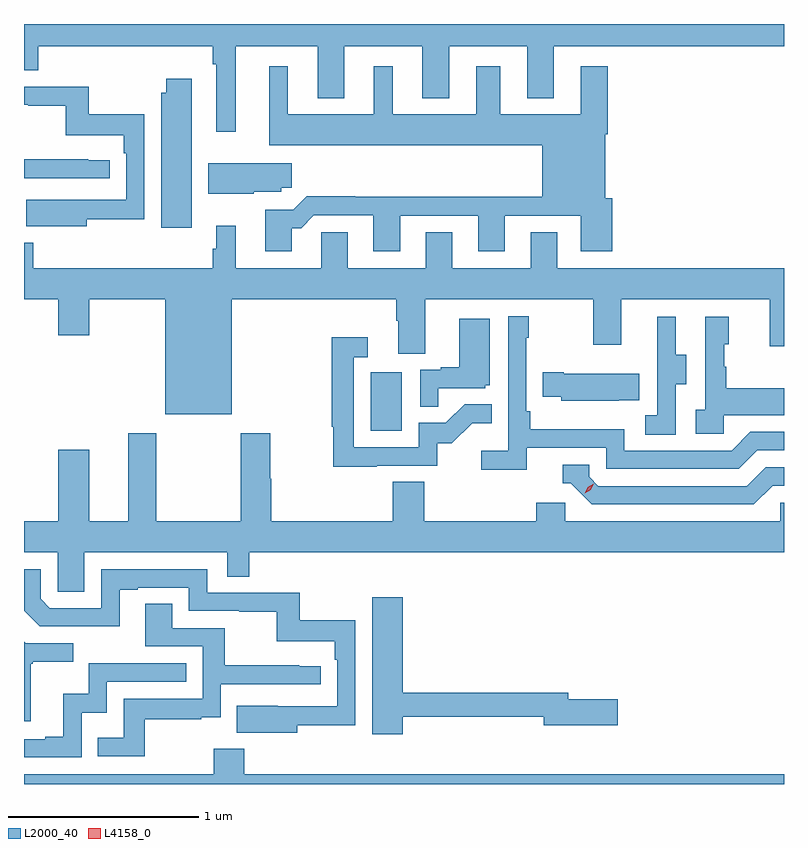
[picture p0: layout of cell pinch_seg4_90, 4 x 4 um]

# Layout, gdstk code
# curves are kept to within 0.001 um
import gdstk
lib = gdstk.Library(unit=1e-6, precision=1e-09)
def R(c, l, rs):  # rectangles x0, y0, x1, y1
    for r in rs: c.add(gdstk.rectangle(r[:2], r[2:], *l))
def P(c, l, *ps):  # polygons
    for p in ps: c.add(gdstk.Polygon(p, *l))
L2000_40 = (2000, 40)
L4158_0 = (4158, 0)

pinch_seg4_90 = lib.new_cell('pinch_seg4_90')
R(pinch_seg4_90, L2000_40, [(1077.74,818.772,1077.904,819.079)])
P(pinch_seg4_90, L2000_40, [(1075.916,820.669),(1075.991,820.669),(1075.991,820.796),(1076.91,820.796),(1076.91,820.7),(1076.927,820.7),(1076.927,820.347),(1077.031,820.347),(1077.031,820.796),(1077.461,820.796),(1077.461,820.523),(1077.601,820.523),(1077.601,820.796),(1078.013,820.796),(1078.013,820.523),(1078.153,820.523),(1078.153,820.796),(1078.565,820.796),(1078.565,820.523),(1078.705,820.523),(1078.705,820.796),(1079.916,820.796),(1079.916,820.913),(1075.916,820.913)],
  [(1077.325,819.839),(1077.374,819.839),(1077.441,819.906),(1077.755,819.906),(1077.755,819.717),(1077.895,819.717),(1077.895,819.903),(1078.307,819.903),(1078.307,819.717),(1078.447,819.717),(1078.447,819.903),(1078.847,819.903),(1078.847,819.717),(1079.012,819.717),(1079.012,819.996),(1078.975,819.996),(1078.975,820.334),(1078.988,820.334),(1078.988,820.69),(1078.847,820.69),(1078.847,820.438),(1078.423,820.438),(1078.423,820.69),(1078.295,820.69),(1078.295,820.438),(1077.856,820.438),(1077.856,820.69),(1077.758,820.69),(1077.758,820.438),(1077.304,820.438),(1077.304,820.69),(1077.206,820.69),(1077.206,820.274),(1078.643,820.274),(1078.643,820.004),(1077.659,820.004),(1077.659,820.007),(1077.404,820.007),(1077.333,819.936),(1077.185,819.936),(1077.185,819.717),(1077.325,819.717)],
  [(1076.8,820.624),(1076.665,820.624),(1076.665,820.552),(1076.639,820.552),(1076.639,819.84),(1076.8,819.84)],
  [(1076.245,819.886),(1076.55,819.886),(1076.55,820.438),(1076.257,820.438),(1076.257,820.584),(1075.916,820.584),(1075.916,820.488),(1075.939,820.488),(1075.939,820.483),(1076.136,820.483),(1076.136,820.328),(1076.441,820.328),(1076.441,820.232),(1076.454,820.232),(1076.454,819.987),(1076.141,819.987),(1076.141,819.988),(1075.927,819.988),(1075.927,819.848),(1076.245,819.848)],
  [(1076.368,820.197),(1076.255,820.197),(1076.255,820.202),(1075.916,820.202),(1075.916,820.101),(1076.368,820.101)],
  [(1077.126,820.031),(1077.27,820.031),(1077.27,820.051),(1077.325,820.051),(1077.325,820.18),(1076.886,820.18),(1076.886,820.019),(1077.126,820.019)],
  [(1077.01,819.464),(1077.875,819.464),(1077.875,819.352),(1077.887,819.352),(1077.887,819.178),(1078.027,819.178),(1078.027,819.464),(1078.912,819.464),(1078.912,819.225),(1079.059,819.225),(1079.059,819.464),(1079.84,819.464),(1079.84,819.216),(1079.916,819.216),(1079.916,819.628),(1078.723,819.628),(1078.723,819.818),(1078.583,819.818),(1078.583,819.628),(1078.171,819.628),(1078.171,819.818),(1078.031,819.818),(1078.031,819.628),(1077.619,819.628),(1077.619,819.818),(1077.48,819.818),(1077.48,819.628),(1077.031,819.628),(1077.031,819.85),(1076.927,819.85),(1076.927,819.731),(1076.91,819.731),(1076.91,819.628),(1075.964,819.628),(1075.964,819.763),(1075.916,819.763),(1075.916,819.464),(1076.096,819.464),(1076.096,819.276),(1076.26,819.276),(1076.26,819.464),(1076.66,819.464),(1076.66,818.858),(1077.01,818.858)],
  [(1078.562,818.682),(1078.98,818.682),(1078.98,818.571),(1079.677,818.571),(1079.776,818.67),(1079.916,818.67),(1079.916,818.766),(1079.739,818.766),(1079.64,818.667),(1079.076,818.667),(1079.076,818.779),(1078.58,818.779),(1078.58,818.875),(1078.56,818.875),(1078.56,819.263),(1078.573,819.263),(1078.573,819.376),(1078.464,819.376),(1078.464,818.668),(1078.323,818.668),(1078.323,818.566),(1078.562,818.566)],
  [(1079.598,818.855),(1079.916,818.855),(1079.916,818.995),(1079.611,818.995),(1079.611,819.11),(1079.601,819.11),(1079.601,819.228),(1079.626,819.228),(1079.626,819.373),(1079.502,819.373),(1079.502,818.882),(1079.451,818.882),(1079.451,818.757),(1079.598,818.757)],
  [(1079.346,819.016),(1079.401,819.016),(1079.401,819.171),(1079.347,819.171),(1079.347,819.373),(1079.249,819.373),(1079.249,819.159),(1079.25,819.159),(1079.25,818.855),(1079.187,818.855),(1079.187,818.752),(1079.346,818.752)],
  [(1078.097,818.997),(1078.344,818.997),(1078.344,819.012),(1078.366,819.012),(1078.366,819.361),(1078.208,819.361),(1078.208,819.106),(1078.109,819.106),(1078.109,819.093),(1078.002,819.093),(1078.002,818.899),(1078.097,818.899)],
  [(1077.773,818.589),(1078.092,818.589),(1078.092,818.706),(1078.168,818.706),(1078.275,818.813),(1078.379,818.813),(1078.379,818.912),(1078.235,818.912),(1078.137,818.814),(1077.993,818.814),(1077.993,818.685),(1077.651,818.685),(1077.651,819.159),(1077.724,819.159),(1077.724,819.265),(1077.535,819.265),(1077.535,818.792),(1077.543,818.792),(1077.543,818.584),(1077.773,818.584)],
  [(1079.045,818.933),(1079.153,818.933),(1079.153,819.073),(1078.756,819.073),(1078.756,819.081),(1078.645,819.081),(1078.645,818.951),(1078.743,818.951),(1078.743,818.93),(1079.045,818.93)],
  [(1076.233,818.132),(1076.985,818.132),(1076.985,818.005),(1077.101,818.005),(1077.101,818.132),(1079.916,818.132),(1079.916,818.394),(1079.895,818.394),(1079.895,818.296),(1078.764,818.296),(1078.764,818.394),(1078.613,818.394),(1078.613,818.296),(1078.022,818.296),(1078.022,818.504),(1077.857,818.504),(1077.857,818.296),(1077.218,818.296),(1077.218,818.519),(1077.213,818.519),(1077.213,818.758),(1077.058,818.758),(1077.058,818.296),(1076.613,818.296),(1076.613,818.758),(1076.465,818.758),(1076.465,818.296),(1076.26,818.296),(1076.26,818.671),(1076.096,818.671),(1076.096,818.296),(1075.916,818.296),(1075.916,818.132),(1076.094,818.132),(1076.094,817.924),(1076.233,817.924)],
  [(1079.857,818.484),(1079.916,818.484),(1079.916,818.58),(1079.82,818.58),(1079.721,818.481),(1078.938,818.481),(1078.89,818.529),(1078.89,818.592),(1078.751,818.592),(1078.751,818.496),(1078.794,818.496),(1078.905,818.385),(1079.758,818.385)],
  [(1077.355,817.222),(1077.66,817.222),(1077.66,817.774),(1077.367,817.774),(1077.367,817.92),(1076.88,817.92),(1076.88,818.043),(1076.322,818.043),(1076.322,817.839),(1076.052,817.839),(1076.004,817.887),(1076.004,818.043),(1075.916,818.043),(1075.916,817.825),(1075.998,817.743),(1076.419,817.742),(1076.419,817.935),(1076.515,817.935),(1076.515,817.947),(1076.784,817.947),(1076.784,817.824),(1077.049,817.824),(1077.049,817.819),(1077.246,817.819),(1077.246,817.664),(1077.551,817.664),(1077.551,817.568),(1077.564,817.568),(1077.564,817.323),(1077.037,817.324),(1077.037,817.184),(1077.355,817.184)],
  [(1077.91,817.266),(1078.652,817.266),(1078.652,817.223),(1079.041,817.223),(1079.041,817.358),(1078.78,817.358),(1078.78,817.394),(1077.91,817.394),(1077.91,817.897),(1077.749,817.897),(1077.749,817.176),(1077.91,817.176)],
  [(1076.551,817.254),(1076.849,817.254),(1076.849,817.265),(1076.952,817.265),(1076.952,817.437),(1077.478,817.437),(1077.478,817.533),(1077.365,817.533),(1077.365,817.538),(1076.972,817.538),(1076.972,817.734),(1076.695,817.734),(1076.695,817.862),(1076.555,817.862),(1076.555,817.638),(1076.856,817.638),(1076.856,817.362),(1076.44,817.362),(1076.44,817.156),(1076.305,817.156),(1076.305,817.059),(1076.551,817.059)],
  [(1075.951,817.545),(1075.963,817.545),(1075.963,817.556),(1076.176,817.556),(1076.176,817.653),(1075.926,817.653),(1075.916,817.663),(1075.916,817.242),(1075.951,817.242)],
  [(1076.22,817.289),(1076.352,817.289),(1076.352,817.452),(1076.771,817.452),(1076.771,817.548),(1076.256,817.548),(1076.256,817.387),(1076.123,817.387),(1076.123,817.162),(1076.027,817.162),(1076.027,817.149),(1075.916,817.149),(1075.916,817.053),(1076.22,817.053)],
  [(1077.074,817.099),(1076.914,817.099),(1076.914,816.964),(1075.916,816.964),(1075.916,816.913),(1079.916,816.913),(1079.916,816.964),(1077.074,816.964)])
P(pinch_seg4_90, L4158_0, [(1078.868,818.442),(1078.868,818.442),(1078.884,818.475),(1078.915,818.494),(1078.915,818.494),(1078.915,818.494),(1078.899,818.461),(1078.868,818.442)])

lib.write_gds('pinch_seg4_90.gds')
